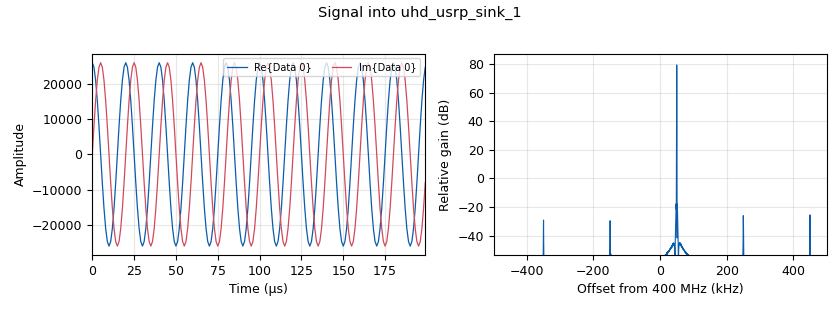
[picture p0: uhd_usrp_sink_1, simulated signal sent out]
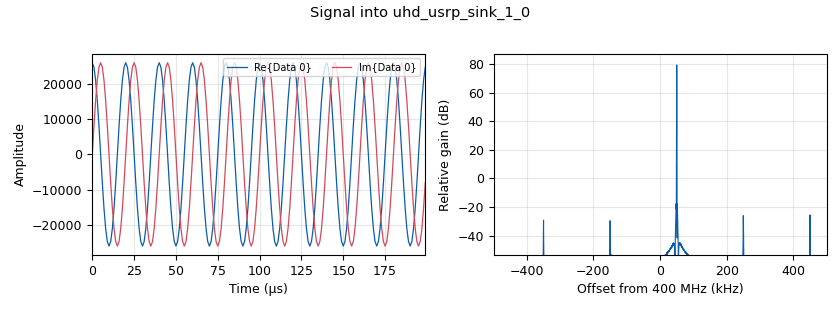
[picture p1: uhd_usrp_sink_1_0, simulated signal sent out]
options:
  parameters:
    generate_options: qt_gui
    id: waterfall_ch_ac
    max_nouts: '1600'
    output_language: python
    title: 'Waterfall/Frequency '
  states: {}

blocks:
- name: amp_all
  id: variable_qtgui_range
  parameters:
    label: AmpSel
    min_len: '2000'
    start: '0'
    step: '1000'
    stop: 32e3
    value: 26e3
  states: {}
- name: amp_all_2
  id: variable_qtgui_range
  parameters:
    label: AmpSel 2
    min_len: '2000'
    start: '0'
    step: '1000'
    stop: 32e3
    value: 26e3
  states: {}
- name: freq_all
  id: variable_qtgui_range
  parameters:
    label: Freq Sel
    min_len: '2000'
    start: '-samp_rate/2'
    step: '1000'
    stop: samp_rate/2
    value: samp_rate/20
  states: {}
- name: freq_all_2
  id: variable_qtgui_range
  parameters:
    label: Freq Sel 2
    min_len: '2000'
    start: '-samp_rate/2'
    step: '1000'
    stop: samp_rate/2
    value: samp_rate/20
  states: {}
- name: samp_rate
  id: variable
  parameters:
    value: '1000000'
  states: {}
- name: analog_sig_source_x_0_0
  id: analog_sig_source_x
  parameters:
    amp: amp_all
    freq: freq_all
    offset: '0'
    phase: '0'
    samp_rate: 'samp_rate '
    type: complex
    waveform: analog.GR_COS_WAVE
  states: {}
- name: analog_sig_source_x_0_0_0
  id: analog_sig_source_x
  parameters:
    amp: amp_all_2
    freq: freq_all_2
    offset: '0'
    phase: '0'
    samp_rate: 'samp_rate '
    type: complex
    waveform: analog.GR_COS_WAVE
  states: {}
- name: blocks_complex_to_interleaved_short_0
  id: blocks_complex_to_interleaved_short
  parameters:
    scale_factor: '1.0'
    vector_output: 'True'
  states: {}
- name: blocks_complex_to_interleaved_short_0_0
  id: blocks_complex_to_interleaved_short
  parameters:
    scale_factor: '1.0'
    vector_output: 'True'
  states: {}
- name: blocks_interleaved_short_to_complex_0_0_2
  id: blocks_interleaved_short_to_complex
  parameters:
    scale_factor: '1.0'
    vector_input: 'True'
  states: {}
- name: blocks_interleaved_short_to_complex_0_0_2_0
  id: blocks_interleaved_short_to_complex
  parameters:
    scale_factor: '1.0'
    vector_input: 'True'
  states: {}
- name: qtgui_freq_sink_x_0
  id: qtgui_freq_sink_x
  parameters:
    bw: samp_rate
    fc: '0'
    fftsize: '1024'
    type: complex
  states: {}
- name: qtgui_freq_sink_x_0_0
  id: qtgui_freq_sink_x
  parameters:
    bw: samp_rate
    fc: '0'
    fftsize: '1024'
    type: complex
  states: {}
- name: qtgui_waterfall_sink_x_0_0
  id: qtgui_waterfall_sink_x
  parameters:
    bw: samp_rate
    fc: '0'
    fftsize: '1024'
    type: complex
    update_time: '0.2'
    wintype: window.WIN_HAMMING
  states: {}
- name: qtgui_waterfall_sink_x_0_0_0
  id: qtgui_waterfall_sink_x
  parameters:
    bw: samp_rate
    color1: '2'
    fc: '0'
    fftsize: '1024'
    type: complex
    update_time: '0.2'
    wintype: window.WIN_HAMMING
  states: {}
- name: uhd_usrp_sink_1
  id: uhd_usrp_sink
  parameters:
    ant0: '"TX/RX"'
    center_freq0: 400e6
    dev_addr: '"crimson"'
    gain0: '15'
    otw: sc16
    samp_rate: samp_rate
    start_time: '-2'
    stream_chans: '[0]'
    sync: sync
    type: sc16
  states: {}
- name: uhd_usrp_sink_1_0
  id: uhd_usrp_sink
  parameters:
    ant0: '"TX/RX"'
    center_freq0: 400e6
    dev_addr: '"crimson"'
    gain0: '15'
    otw: sc16
    samp_rate: samp_rate
    start_time: '-2'
    stream_chans: '[2]'
    sync: sync
    type: sc16
  states: {}
- name: uhd_usrp_source_0
  id: uhd_usrp_source
  parameters:
    ant0: '"RX2"'
    ant1: '"RX2"'
    center_freq0: 400e6
    center_freq1: 400e6
    dc_offs_enb0: '""'
    dc_offs_enb1: '""'
    dev_addr: '"crimson"'
    gain0: '15'
    gain1: '15'
    iq_imbal_enb0: '""'
    iq_imbal_enb1: '""'
    nchan: '2'
    otw: sc16
    samp_rate: samp_rate
    start_time: '-2'
    stream_chans: '[0,2]'
    sync: sync
    type: sc16
  states: {}

connections:
- [analog_sig_source_x_0_0, '0', blocks_complex_to_interleaved_short_0, '0']
- [analog_sig_source_x_0_0_0, '0', blocks_complex_to_interleaved_short_0_0, '0']
- [blocks_complex_to_interleaved_short_0, '0', uhd_usrp_sink_1, '0']
- [blocks_complex_to_interleaved_short_0_0, '0', uhd_usrp_sink_1_0, '0']
- [blocks_interleaved_short_to_complex_0_0_2, '0', qtgui_freq_sink_x_0, '0']
- [blocks_interleaved_short_to_complex_0_0_2, '0', qtgui_waterfall_sink_x_0_0, '0']
- [blocks_interleaved_short_to_complex_0_0_2_0, '0', qtgui_freq_sink_x_0_0, '0']
- [blocks_interleaved_short_to_complex_0_0_2_0, '0', qtgui_waterfall_sink_x_0_0_0, '0']
- [uhd_usrp_source_0, '0', blocks_interleaved_short_to_complex_0_0_2_0, '0']
- [uhd_usrp_source_0, '1', blocks_interleaved_short_to_complex_0_0_2, '0']

metadata:
  file_format: 1
